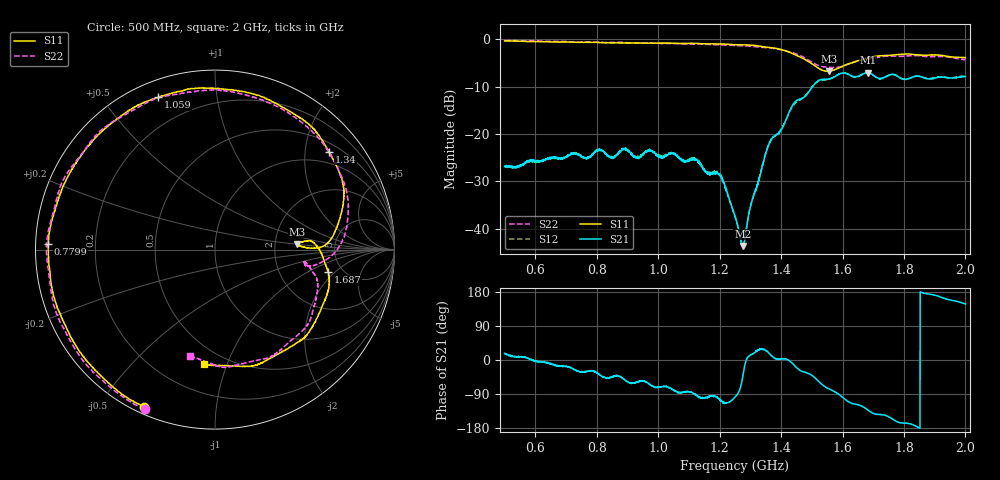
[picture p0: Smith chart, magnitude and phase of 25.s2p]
! Anritsu VNA Master:  Model: MS2036C/2
! SN:  2120025
! /bd0/25.s2p
! Existing Calibration Information:
! TYPE:  Current Settings,  Active Cal Settings
! TIME:  03/24/2026 03:11:36 AM,  03/18/2026 10:00:30 PM
! INTERNAL TEMP:  50.3 C,  42.3 C
! # POINTS:  2000,  2000
! START FREQ:  500.000 MHz,  500.000 MHz
! STOP FREQ:  2.000 GHz,  2.000 GHz
! SOURCE POWER:  High,  High
! IFBW:  10 kHz,  10 kHz
! AVG FACTOR:  1 ,  1
! REF PLANE 1:  0 mm,  0 mm
! REF PLANE 2:  0 mm,  0 mm
! CAL TYPE:  Full 2 Port,  Full 2 Port
! CAL METHOD:  SOLT,  SOLT
! CAL LINE TYPE:  Coax,  Coax
! DUT PORT 1:  N-Conn(M),  N-Conn(M)
! DUT PORT 2:  N-Conn(M),  N-Conn(M)
! CAL STATUS:  ?T: Accuracy moderate (|Temp diff| > 5.0 C),  --
# GHZ S MA R 50.0
! FREQ.GHZ  S11M  S11A  S21M  S21A  S12M  S12A  S22M  S22A
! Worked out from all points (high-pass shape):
!   2000 points, 500 MHz to 2 GHz, reference 50 ohm
!   highest |S21| = -7.05 dB at 1.683 GHz (marker M1); lowest = -43.7 dB at 1.275 GHz (marker M2)
!   |S21| within 3 dB of the highest: 1.502 GHz to end of sweep
!   lowest |S11| = -6.8 dB at 1.555 GHz (marker M3), VSWR 2.69, Z = 134 + j10.7 ohm
!   |S11| at or under -10 dB: nowhere
!   |S22| runs from -6.0 to -0.2 dB; largest |S21 - S12| = 0.013
!   S11 on the Smith chart (normalised r, x): 500 MHz: 0.03, -0.64; 779.9 MHz: 0.04, +0.02; 1.059 GHz: 0.07, +0.69; 1.34 GHz: 0.69, +2.53; 1.687 GHz: 3.85, -1.64; 2 GHz: 0.38, -0.83
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0.5  0.9604 -114.3  0.04531 17.4  0.04469 15.6  0.9722 -113.8
0.6298149  0.9428 -144.9  0.05281 -5.5  0.05329 -6.6  0.9567 -144.7
0.7506253  0.9308 -174.6  0.05742 -31.5  0.05681 -31.5  0.9384 -174.2
0.7798899  0.9298 178.2  0.05769 -28.6  0.05846 -28.2  0.9397 179.0
0.8796898  0.9152 153.6  0.06694 -46.0  0.06876 -45.9  0.9299 154.2
1.0005  0.9107 124.7  0.05717 -71.5  0.0604 -72.0  0.9043 123.8
1.05903  0.9057 110.5  0.05909 -83.1  0.05886 -82.8  0.9005 108.9
1.197099  0.8928 76.8  0.03773 -101.9  0.03709 -103.4  0.8739 73.0
1.250375  0.8776 63.1  0.01354 -97.4  0.0131 -96.9  0.8618 58.8
1.275138  0.8752 56.5  0.00655 -44.0  0.006505 -42.2  0.8532 52.2
1.33967  0.8368 40.7  0.04585 27.3  0.04781 28.9  0.8219 34.2
1.362931  0.8185 33.1  0.08264 16.1  0.08024 16.9  0.8097 27.6
1.401951  0.7759 22.4  0.1119 3.0  0.1148 4.0  0.7696 15.8
1.438719  0.7034 12.2  0.2047 -10.6  0.1998 -10.4  0.7205 5.0
1.50025  0.5545 0.7  0.3105 -40.8  0.3144 -40.6  0.5746 -8.5
1.555028  0.4584 3.9  0.3796 -76.0  0.378 -74.5  0.5048 -9.0
1.5993  0.5189 5.5  0.4394 -97.9  0.441 -97.4  0.518 -8.7
1.683342  0.6382 -10.4  0.4442 -132.3  0.4447 -131.7  0.619 -23.3
1.687094  0.6419 -11.2  0.4415 -134.6  0.4417 -134.1  0.6239 -24.3
1.750125  0.6753 -27.5  0.4184 -149.7  0.4138 -148.8  0.6642 -39.9
1.885943  0.6811 -66.5  0.3811 173.4  0.3871 174.6  0.653 -75.4
2  0.6403 -95.6  0.4034 147.8  0.4074 148.2  0.6083 -103.0
